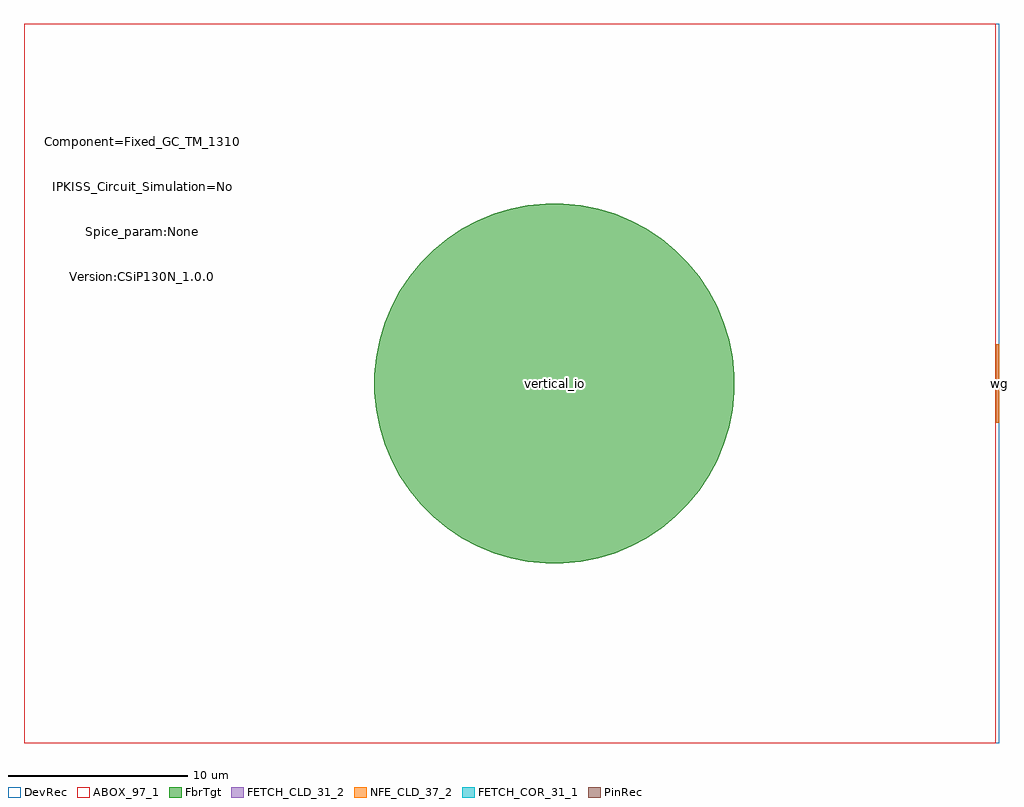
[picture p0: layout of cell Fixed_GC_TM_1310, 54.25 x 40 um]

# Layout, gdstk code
import gdstk
lib = gdstk.Library(unit=1e-6, precision=1e-09)
def R(c, l, rs):  # rectangles x0, y0, x1, y1
    for r in rs: c.add(gdstk.rectangle(r[:2], r[2:], *l))
def P(c, l, *ps):  # polygons
    for p in ps: c.add(gdstk.Polygon(p, *l))
FETCH_COR_31_1 = (31, 1)
FETCH_CLD_31_2 = (31, 2)
NFE_CLD_37_2 = (37, 2)
PinRec = (95, 0)
ABOX_97_1 = (97, 1)
FbrTgt = (1000, 0)
DevRec = (1001, 0)

fixed_gc_tm_1310 = lib.new_cell('Fixed_GC_TM_1310')
R(fixed_gc_tm_1310, FETCH_COR_31_1, [(-0.2,-0.19,0,0.19), (-0.2,-0.19,0,0.19)])
R(fixed_gc_tm_1310, FETCH_CLD_31_2, [(-0.2,-2.19,0,2.19), (-0.2,-2.19,0,2.19)])
R(fixed_gc_tm_1310, NFE_CLD_37_2, [(-0.2,-2.19,0,2.19), (-0.2,-2.19,0,2.19)])
R(fixed_gc_tm_1310, ABOX_97_1, [(-54.2,-20,-0.2,20)])
P(fixed_gc_tm_1310, FbrTgt, [(-25.211,-10),(-26.189,-9.904),(-27.153,-9.712),(-28.093,-9.427),(-29.001,-9.051),(-29.867,-8.588),(-30.684,-8.042),(-31.444,-7.418),(-32.138,-6.724),(-32.762,-5.964),(-33.308,-5.147),(-33.771,-4.281),(-34.147,-3.373),(-34.432,-2.433),(-34.624,-1.469),(-34.72,-0.491),(-34.72,0.491),(-34.624,1.469),(-34.432,2.433),(-34.147,3.373),(-33.771,4.281),(-33.308,5.147),(-32.762,5.964),(-32.138,6.724),(-31.444,7.418),(-30.684,8.042),(-29.867,8.588),(-29.001,9.051),(-28.093,9.427),(-27.153,9.712),(-26.189,9.904),(-25.211,10),(-24.229,10),(-23.251,9.904),(-22.287,9.712),(-21.347,9.427),(-20.439,9.051),(-19.573,8.588),(-18.756,8.042),(-17.996,7.418),(-17.302,6.724),(-16.678,5.964),(-16.132,5.147),(-15.669,4.281),(-15.293,3.373),(-15.008,2.433),(-14.816,1.469),(-14.72,0.491),(-14.72,-0.491),(-14.816,-1.469),(-15.008,-2.433),(-15.293,-3.373),(-15.669,-4.281),(-16.132,-5.147),(-16.678,-5.964),(-17.302,-6.724),(-17.996,-7.418),(-18.756,-8.042),(-19.573,-8.588),(-20.439,-9.051),(-21.347,-9.427),(-22.287,-9.712),(-23.251,-9.904),(-24.229,-10)])
R(fixed_gc_tm_1310, DevRec, [(-54.2,-20,0,20)])
fixed_gc_tm_1310.add(gdstk.FlexPath([(-0.05,0),(0.05,0)], 0.38, ends="flush", simple_path=True, layer=95, datatype=0))  # PinRec
fixed_gc_tm_1310.add(gdstk.Label('wg', (0,0), layer=95, texttype=0))
fixed_gc_tm_1310.add(gdstk.Label('vertical_io', (-24.72,0), layer=1000, texttype=0))
fixed_gc_tm_1310.add(gdstk.Label('Version:CSiP130N_1.0.0', (-47.62,5.97), layer=1001, texttype=0))
fixed_gc_tm_1310.add(gdstk.Label('IPKISS_Circuit_Simulation=None', (-47.62,10.97), layer=1001, texttype=0))
fixed_gc_tm_1310.add(gdstk.Label('Component=Fixed_GC_TM_1310', (-47.62,13.47), layer=1001, texttype=0))
fixed_gc_tm_1310.add(gdstk.Label('Spice_param:None', (-47.62,8.47), layer=1001, texttype=0))

lib.write_gds('Fixed_GC_TM_1310.gds')
